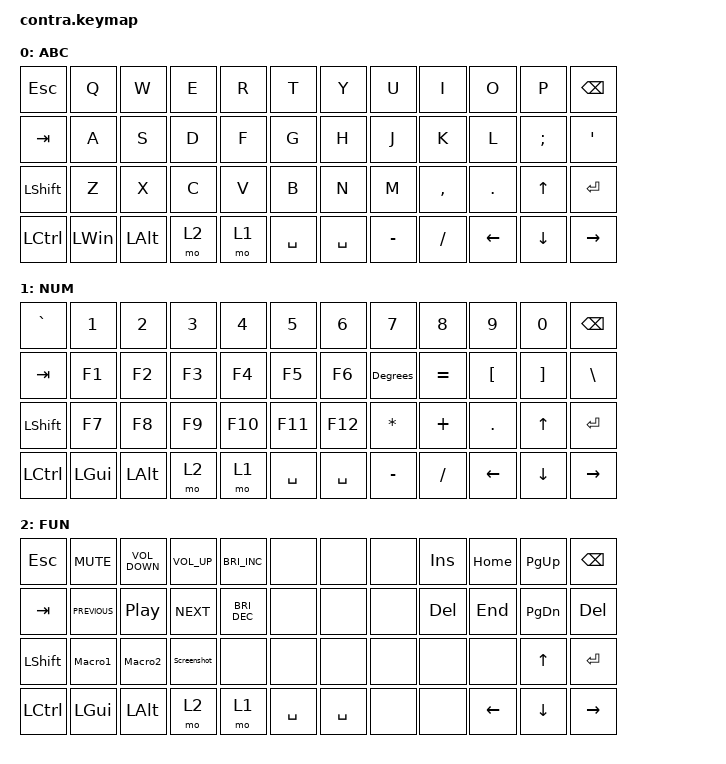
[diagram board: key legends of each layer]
/*
 * Copyright (c) 2021 The ZMK Contributors
 *
 * SPDX-License-Identifier: MIT
 */

#include <behaviors.dtsi>
#include <dt-bindings/zmk/keys.h>

#define ABC         0
#define NUM         1
#define FUN         2

/ {
    behaviors {
        td_ESC: tap_dance_0 {
            compatible = "zmk,behavior-tap-dance";
            #binding-cells = <0>;
            tapping-term-ms = <200>;
            bindings = <&kp ESC>, <&kp CAPS>;
        };

        td_ESC_grave: tap_dance_1 {
            compatible = "zmk,behavior-tap-dance";
            #binding-cells = <0>;
            tapping-term-ms = <200>;
            bindings = <&kp ESC>, <&kp GRAVE>;
        };

        lr_up: layer_up {
            compatible = "zmk,behavior-mod-morph";
            #binding-cells = <0>;
            bindings = <&to 0>, <&to 2>;

            mods = <(MOD_LSFT)>;
        };

        lr_upg: layer_up_game_mode {
            compatible = "zmk,behavior-mod-morph";
            #binding-cells = <0>;
            bindings = <&mo 0>, <&to 0>;

            mods = <(MOD_LSFT)>;
        };
    };

    macros {
        Macro1: Macro1 {
            compatible = "zmk,behavior-macro";
            #binding-cells = <0>;
            bindings = <&none &kp N6 &kp N0 &kp N1 &kp N7 &kp N1 &kp N5 &kp N7 &kp N5>;
            label = "MACRO1";
        };

        Macro2: Macro2 {
            compatible = "zmk,behavior-macro";
            #binding-cells = <0>;
            bindings = <&none &kp LS(S) &kp P &kp R &kp I &kp N &kp G &kp N2 &kp N0 &kp N2 &kp N6 &kp RET>;
            label = "MACRO2";
        };

        Degrees: Degrees {
            compatible = "zmk,behavior-macro";
            #binding-cells = <0>;
            bindings =
                <&macro_press>,
                <&kp LEFT_ALT>,
                <&macro_tap>,
                <&kp KP_NUMBER_0 &kp KP_NUMBER_1 &kp KP_NUMBER_7 &kp KP_NUMBER_6>,
                <&macro_release>,
                <&kp LEFT_ALT>;

            label = "DEGREES";
        };

        Screenshot: Screenshot {
            compatible = "zmk,behavior-macro";
            #binding-cells = <0>;
            bindings =
                <&macro_press>,
                <&kp LEFT_SHIFT &kp LEFT_WIN>,
                <&macro_tap>,
                <&kp S>,
                <&macro_release>,
                <&kp LEFT_SHIFT &kp LEFT_WIN>;

            label = "SCREENSHOT";
        };
    };

    keymap {
        compatible = "zmk,keymap";

        ABC {
            bindings = <
&kp ESC    &kp Q         &kp W         &kp E  &kp R  &kp T      &kp Y      &kp U      &kp I      &kp O           &kp P           &kp BSPC
&kp TAB    &kp A         &kp S         &kp D  &kp F  &kp G      &kp H      &kp J      &kp K      &kp L           &kp SEMICOLON   &kp SQT
&kp LSHFT  &kp Z         &kp X         &kp C  &kp V  &kp B      &kp N      &kp M      &kp COMMA  &kp DOT         &kp UP_ARROW    &kp ENTER
&kp LCTRL  &kp LEFT_WIN  &kp LEFT_ALT  &mo 2  &mo 1  &kp SPACE  &kp SPACE  &kp MINUS  &kp SLASH  &kp LEFT_ARROW  &kp DOWN_ARROW  &kp RIGHT_ARROW
            >;
        };

        NUM {
            bindings = <
&kp GRAVE  &kp N1    &kp N2    &kp N3  &kp N4   &kp N5     &kp N6     &kp N7        &kp N8     &kp N9          &kp N0          &kp BACKSPACE
&kp TAB    &kp F1    &kp F2    &kp F3  &kp F4   &kp F5     &kp F6     &Degrees      &kp EQUAL  &kp LBKT        &kp RBKT        &kp BSLH
&kp LSHFT  &kp F7    &kp F8    &kp F9  &kp F10  &kp F11    &kp F12    &kp ASTERISK  &kp PLUS   &kp PERIOD      &kp UP_ARROW    &kp ENTER
&kp LCTRL  &kp LGUI  &kp LALT  &mo 2   &mo 1    &kp SPACE  &kp SPACE  &kp MINUS     &kp SLASH  &kp LEFT_ARROW  &kp DOWN_ARROW  &kp RIGHT_ARROW
            >;
        };

        FUN {
            bindings = <
&kp ESCAPE  &kp C_MUTE      &kp C_VOLUME_DOWN  &kp C_VOLUME_UP  &kp C_BRIGHTNESS_INC  &none      &none      &none  &kp INSERT  &kp HOME        &kp PAGE_UP     &kp BSPC
&kp TAB     &kp C_PREVIOUS  &kp C_PLAY_PAUSE   &kp C_NEXT       &kp C_BRIGHTNESS_DEC  &none      &none      &none  &kp DELETE  &kp END         &kp PAGE_DOWN   &kp DELETE
&kp LSHFT   &Macro1         &Macro2            &Screenshot      &none                 &none      &none      &none  &none       &none           &kp UP_ARROW    &kp ENTER
&kp LCTRL   &kp LGUI        &kp LALT           &mo 2            &mo 1                 &kp SPACE  &kp SPACE  &none  &none       &kp LEFT_ARROW  &kp DOWN_ARROW  &kp RIGHT_ARROW
            >;
        };
    };
};
